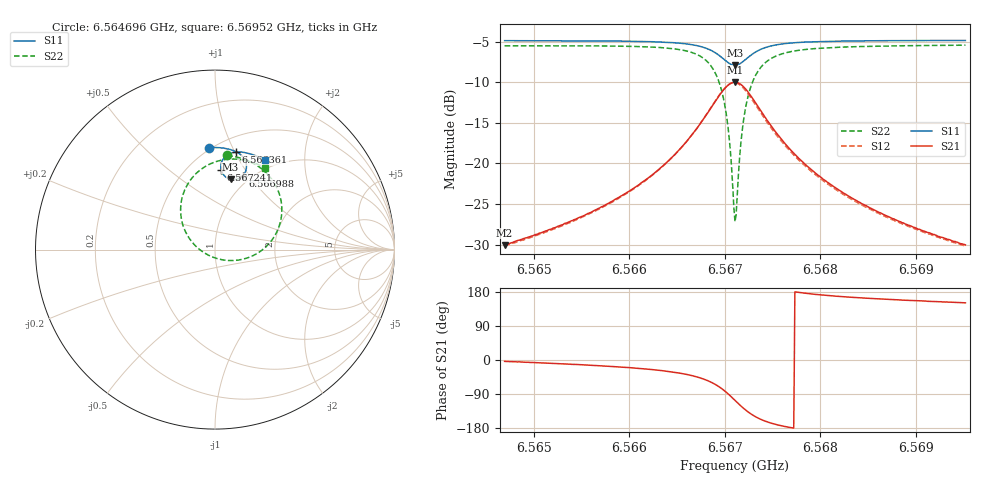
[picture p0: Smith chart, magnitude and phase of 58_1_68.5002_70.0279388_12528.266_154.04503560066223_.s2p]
#  HZ  S  RI  R  50.00
! Rohde & Schwarz Vector Network Analyzer
! Rohde-Schwarz,ZNB20-2Port,1311601062101988,3.16
! Created: UTC 3/20/2024, 4:51:07 PM
! freq[Hz]  re:S11  im:S11  re:S21  im:S21  re:S12  im:S12  re:S22  im:S22
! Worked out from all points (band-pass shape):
!   401 points, 6.564696 GHz to 6.56952 GHz, reference 50 ohm
!   highest |S21| = -10.00 dB at 6.567108 GHz (marker M1); lowest = -30.0 dB at 6.564696 GHz (marker M2)
!   |S21| within 3 dB of the highest: 6.566866 GHz to 6.567349 GHz (483.3 kHz wide, 0.00736 % of centre)
!   lowest |S11| = -7.9 dB at 6.567108 GHz (marker M3), VSWR 2.34, Z = 42.5 + j39.7 ohm
!   |S11| at or under -10 dB: nowhere
!   |S22| runs from -27.2 to -5.4 dB; largest |S21 - S12| = 0.016
!   S11 on the Smith chart (normalised r, x): 6.564696 GHz: 0.48, +0.81; 6.566361 GHz: 0.64, +1.01; 6.566988 GHz: 0.91, +0.93; 6.567241 GHz: 0.71, +0.79; 6.56952 GHz: 0.87, +1.29
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6.5646963e9  -0.0353 0.5684  0.0314 -0.00194  0.0309 -0.00242  0.0683 0.525
6.5655043e9  0.0327 0.567  0.0461 -0.0102  0.0454 -0.011  0.1505 0.5072
6.5659506e9  0.0742 0.5604  0.0612 -0.0214  0.0603 -0.0221  0.2086 0.4829
6.5663124e9  0.1129 0.5475  0.0819 -0.042  0.0807 -0.0432  0.2716 0.4403
6.5663606e9  0.1185 0.5448  0.0857 -0.0467  0.0845 -0.0478  0.2816 0.4311
6.5666139e9  0.151 0.5213  0.1088 -0.0871  0.107 -0.089  0.3409 0.3517
6.5667948e9  0.1724 0.4845  0.1199 -0.1519  0.1169 -0.1555  0.3724 0.2265
6.5669033e9  0.1736 0.4467  0.1036 -0.2184  0.0974 -0.223  0.3447 0.0994
6.5669878e9  0.1549 0.4117  0.0537 -0.2783  0.0426 -0.2816  0.2509 -0.0111
6.567036e9  0.1322 0.3958  0.0036 -0.3032  -0.0103 -0.3036  0.1571 -0.0532
6.5670963e9  0.095 0.3903  -0.0743 -0.307  -0.0888 -0.3011  0.0161 -0.0513
6.5671084e9  0.0871 0.3917  -0.09 -0.3032  -0.1043 -0.296  -0.0116 -0.0423
6.5671204e9  0.0796 0.3939  -0.1053 -0.2977  -0.1192 -0.2892  -0.038 -0.0303
6.5671325e9  0.0724 0.3969  -0.1199 -0.291  -0.133 -0.2813  -0.0629 -0.0161
6.5671687e9  0.0537 0.4101  -0.1578 -0.2631  -0.1679 -0.2506  -0.1254 0.039
6.5671928e9  0.0444 0.4214  -0.1769 -0.2403  -0.1847 -0.2269  -0.1552 0.082
6.567241e9  0.0339 0.4458  -0.2 -0.1917  -0.2034 -0.178  -0.1871 0.1703
6.5673375e9  0.0371 0.4886  -0.2018 -0.109  -0.1998 -0.0985  -0.1755 0.3146
6.5674822e9  0.0642 0.5239  -0.1668 -0.0406  -0.1631 -0.0347  -0.0995 0.4294
6.5679164e9  0.1347 0.5438  -0.0902 0.00938  -0.0879 0.0107  0.0662 0.5029
6.5687244e9  0.2152 0.5271  -0.0439 0.0162  -0.0429 0.0165  0.1996 0.489
6.5695204e9  0.2765 0.4996  -0.0276 0.0154  -0.027 0.0154  0.276 0.4572
